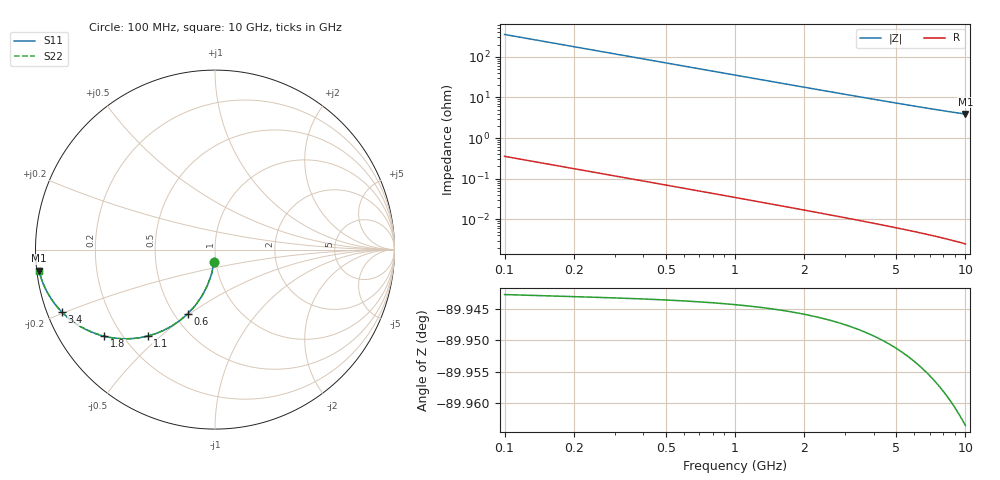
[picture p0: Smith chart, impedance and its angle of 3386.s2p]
# Hz S RI R 50.00
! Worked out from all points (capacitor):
!   100 points, 100 MHz to 10 GHz, reference 50 ohm
!   read as one part in shunt: C = 4.49 pF near 100 MHz
!   lowest |Z| = 3.89 ohm at 10 GHz (marker M1)
!   S11 on the Smith chart (normalised r, x): 100 MHz: 0.98, -0.14; 600 MHz: 0.58, -0.49; 1.1 GHz: 0.29, -0.45; 1.8 GHz: 0.14, -0.34; 3.4 GHz: 0.04, -0.20; 10 GHz: 0.01, -0.06
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1e8  -0.00497 -0.07  0.9949 -0.0704  0.9949 -0.0704  -0.00497 -0.07
2e8  -0.0196 -0.138  0.9803 -0.1386  0.9803 -0.1386  -0.0196 -0.138
3e8  -0.043 -0.202  0.9569 -0.203  0.9569 -0.203  -0.043 -0.202
4e8  -0.0739 -0.2606  0.926 -0.2619  0.926 -0.2619  -0.0739 -0.2606
5e8  -0.1108 -0.3126  0.8891 -0.3143  0.8891 -0.3143  -0.1108 -0.3126
6e8  -0.1521 -0.3577  0.8478 -0.3597  0.8478 -0.3597  -0.1521 -0.3577
7e8  -0.1962 -0.3955  0.8037 -0.3978  0.8037 -0.3978  -0.1962 -0.3955
8e8  -0.2417 -0.4263  0.7582 -0.429  0.7582 -0.429  -0.2417 -0.4263
9e8  -0.2874 -0.4506  0.7125 -0.4536  0.7125 -0.4536  -0.2874 -0.4506
1.1e9  -0.3758 -0.482  0.6241 -0.4857  0.6241 -0.4857  -0.3758 -0.482
1.4e9  -0.4936 -0.4971  0.5063 -0.5018  0.5063 -0.5018  -0.4936 -0.4971
1.6e9  -0.56 -0.4932  0.4399 -0.4985  0.4399 -0.4985  -0.56 -0.4932
1.8e9  -0.6169 -0.4826  0.383 -0.4886  0.383 -0.4886  -0.6169 -0.4826
2.1e9  -0.6867 -0.4598  0.3132 -0.4668  0.3132 -0.4668  -0.6867 -0.4598
2.5e9  -0.7564 -0.4245  0.2434 -0.4329  0.2434 -0.4329  -0.7564 -0.4245
2.9e9  -0.8069 -0.3893  0.1929 -0.399  0.1929 -0.399  -0.8069 -0.3893
3.4e9  -0.8518 -0.349  0.148 -0.3605  0.148 -0.3605  -0.8518 -0.349
4.2e9  -0.8978 -0.2952  0.102 -0.3094  0.102 -0.3094  -0.8978 -0.2952
5.1e9  -0.9285 -0.2482  0.0713 -0.2657  0.0713 -0.2657  -0.9285 -0.2482
6.7e9  -0.9575 -0.189  0.0421 -0.2123  0.0421 -0.2123  -0.9575 -0.189
8.4e9  -0.9728 -0.1464  0.0266 -0.1761  0.0266 -0.1761  -0.9728 -0.1464
1e10  -0.9808 -0.1171  0.0184 -0.1531  0.0184 -0.1531  -0.9808 -0.1171
